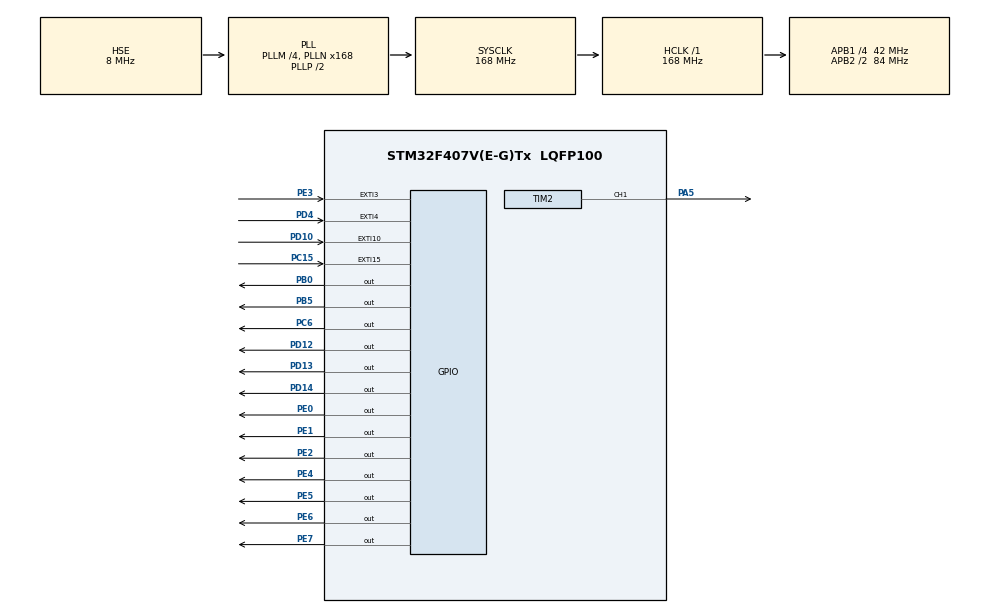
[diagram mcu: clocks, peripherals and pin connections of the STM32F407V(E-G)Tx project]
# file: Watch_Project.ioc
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Mcu.Family=STM32F4
Mcu.Name=STM32F407V(E-G)Tx
Mcu.Package=LQFP100
NVIC.EXTI15_10_IRQn=true\:0\:0\:false\:true\:true\:4\:true\:true\:true
NVIC.EXTI3_IRQn=true\:0\:0\:false\:true\:true\:2\:true\:true\:true
NVIC.EXTI4_IRQn=true\:0\:0\:false\:true\:true\:3\:true\:true\:true
NVIC.PriorityGroup=NVIC_PRIORITYGROUP_4
NVIC.TIM7_IRQn=true\:0\:0\:false\:true\:true\:1\:true\:true\:true
PA5.Signal=S_TIM2_CH1_ETR
PB0.Signal=GPIO_Output
PB5.Signal=GPIO_Output
PC15-OSC32_OUT.GPIO_ModeDefaultEXTI=GPIO_MODE_IT_RISING_FALLING
PC15-OSC32_OUT.Signal=GPXTI15
PC6.Signal=GPIO_Output
PD10.GPIO_ModeDefaultEXTI=GPIO_MODE_IT_RISING_FALLING
PD10.Signal=GPXTI10
PD12.Signal=GPIO_Output
PD13.Signal=GPIO_Output
PD14.Signal=GPIO_Output
PD4.GPIO_ModeDefaultEXTI=GPIO_MODE_IT_RISING_FALLING
PD4.Signal=GPXTI4
PE0.Signal=GPIO_Output
PE1.Signal=GPIO_Output
PE2.Signal=GPIO_Output
PE3.GPIO_ModeDefaultEXTI=GPIO_MODE_IT_RISING_FALLING
PE3.Signal=GPXTI3
PE4.Signal=GPIO_Output
PE5.Signal=GPIO_Output
PE6.Signal=GPIO_Output
PE7.Signal=GPIO_Output
PH0-OSC_IN.Mode=HSE-External-Oscillator
PH0-OSC_IN.Signal=RCC_OSC_IN
PH1-OSC_OUT.Mode=HSE-External-Oscillator
PH1-OSC_OUT.Signal=RCC_OSC_OUT
ProjectManager.HeapSize=0x200
ProjectManager.StackSize=0x400
ProjectManager.TargetToolchain=STM32CubeIDE
RCC.48MHZClocksFreq_Value=84000000
RCC.AHBFreq_Value=168000000
RCC.APB1CLKDivider=RCC_HCLK_DIV4
RCC.APB1Freq_Value=42000000
RCC.APB1TimFreq_Value=84000000
RCC.APB2CLKDivider=RCC_HCLK_DIV2
RCC.APB2Freq_Value=84000000
RCC.APB2TimFreq_Value=168000000
RCC.CortexFreq_Value=168000000
RCC.HCLKFreq_Value=168000000
RCC.HSE_VALUE=8000000
RCC.HSI_VALUE=16000000
RCC.LSE_VALUE=32768
RCC.PLLM=4
RCC.PLLN=168
RCC.PLLSourceVirtual=RCC_PLLSOURCE_HSE
RCC.SYSCLKFreq_VALUE=168000000
RCC.SYSCLKSource=RCC_SYSCLKSOURCE_PLLCLK
RCC.VCOOutputFreq_Value=336000000
SH.S_TIM2_CH1_ETR.0=TIM2_CH1,PWM Generation1 CH1
TIM2.AutoReloadPreload=TIM_AUTORELOAD_PRELOAD_ENABLE
TIM2.Channel-PWM\ Generation1\ CH1=TIM_CHANNEL_1
TIM2.OCFastMode_PWM-PWM\ Generation1\ CH1=TIM_OCFAST_ENABLE
TIM2.Period=1000-1
TIM2.Prescaler=168-1
TIM2.Pulse-PWM\ Generation1\ CH1=500
TIM7.Period=1000-1
TIM7.Prescaler=84-1
VP_TIM2_VS_ClockSourceINT.Mode=Internal
VP_TIM7_VS_ClockSourceINT.Mode=Enable_Timer
board=custom

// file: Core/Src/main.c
/* USER CODE BEGIN Header */
/**
 ******************************************************************************
 * @file           : main.c
 * @brief          : Main program body
 ******************************************************************************
 * @attention
 *
 * Copyright (c) 2024 STMicroelectronics.
 * All rights reserved.
 *
 * This software is licensed under terms that can be found in the LICENSE file
 * in the root directory of this software component.
 * If no LICENSE file comes with this software, it is provided AS-IS.
 *
 ******************************************************************************
 */
/* USER CODE END Header */
#include "main.h"

/* USER CODE BEGIN Includes */
#include "stdbool.h"
#include <stdint.h>
#include <stdio.h>

#include "7SEG.h"
#include "CLCD.h"
#include "variables.h"
#include "initprocess.h"
#include "alarm.h"
#include "clock.h"
#include "timer.h"
#include "stopwatch.h"
/* USER CODE END Includes */

TIM_HandleTypeDef htim2;
TIM_HandleTypeDef htim7;

void SystemClock_Config(void);
static void MX_GPIO_Init(void);
static void MX_TIM7_Init(void);
static void MX_TIM2_Init(void);
static void MX_NVIC_Init(void);

int main(void) {

	/* MCU Configuration--------------------------------------------------------*/

	/* Reset of all peripherals, Initializes the Flash interface and the Systick. */
	HAL_Init();

	/* Configure the system clock */
	SystemClock_Config();

	/* Initialize all configured peripherals */
	MX_GPIO_Init();
	MX_TIM7_Init();
	MX_TIM2_Init();

	/* Initialize interrupts */
	MX_NVIC_Init();
	/* USER CODE BEGIN 2 */
	Init_Peripherals(&htim7);
	/* USER CODE END 2 */

	/* Infinite loop */
	/* USER CODE BEGIN WHILE */
	while (1) {
		switch (Watch_Mode) {
		case MODE_CLOCK:
			Clock_basic_operation();
			Clock_display_operation();
			Clock_button_operation();
			break;
		case MODE_ALARM:
			Alarm_basic_operation();
			Alarm_display_operation();
			Alarm_button_operation();
			break;
		case MODE_STOPWATCH:
			Stopwatch_basic_operation();
			Stopwatch_display_operation();
			Stopwatch_button_operation();
			break;
		case MODE_TIMER:
			Timer_basic_operation();
			Timer_display_operation();
			Timer_button_operation();
			break;
		}
		if (Watch_Mode > MODE_TIMER) {
			Watch_Mode = MODE_CLOCK;
		}
		Alarm_Check();
		Init_button_operation();
		/* USER CODE END WHILE */

	}
}

void SystemClock_Config(void) {
	RCC_OscInitTypeDef RCC_OscInitStruct = { 0 };
	RCC_ClkInitTypeDef RCC_ClkInitStruct = { 0 };

	/** Configure the main internal regulator output voltage
	 */
	__HAL_RCC_PWR_CLK_ENABLE();
	__HAL_PWR_VOLTAGESCALING_CONFIG(PWR_REGULATOR_VOLTAGE_SCALE1);

	/** Initializes the RCC Oscillators according to the specified parameters
	 * in the RCC_OscInitTypeDef structure.
	 */
	RCC_OscInitStruct.OscillatorType = RCC_OSCILLATORTYPE_HSE;
	RCC_OscInitStruct.HSEState = RCC_HSE_ON;
	RCC_OscInitStruct.PLL.PLLState = RCC_PLL_ON;
	RCC_OscInitStruct.PLL.PLLSource = RCC_PLLSOURCE_HSE;
	RCC_OscInitStruct.PLL.PLLM = 4;
	RCC_OscInitStruct.PLL.PLLN = 168;
	RCC_OscInitStruct.PLL.PLLP = RCC_PLLP_DIV2;
	RCC_OscInitStruct.PLL.PLLQ = 4;
	if (HAL_RCC_OscConfig(&RCC_OscInitStruct) != HAL_OK) {
		Error_Handler();
	}

	/** Initializes the CPU, AHB and APB buses clocks
	 */
	RCC_ClkInitStruct.ClockType = RCC_CLOCKTYPE_HCLK | RCC_CLOCKTYPE_SYSCLK
			| RCC_CLOCKTYPE_PCLK1 | RCC_CLOCKTYPE_PCLK2;
	RCC_ClkInitStruct.SYSCLKSource = RCC_SYSCLKSOURCE_PLLCLK;
	RCC_ClkInitStruct.AHBCLKDivider = RCC_SYSCLK_DIV1;
	RCC_ClkInitStruct.APB1CLKDivider = RCC_HCLK_DIV4;
	RCC_ClkInitStruct.APB2CLKDivider = RCC_HCLK_DIV2;

	if (HAL_RCC_ClockConfig(&RCC_ClkInitStruct, FLASH_LATENCY_5) != HAL_OK) {
		Error_Handler();
	}
}

/**
 * @brief NVIC Configuration.
 * @retval None
 */
static void MX_NVIC_Init(void) {
	/* TIM7_IRQn interrupt configuration */
	HAL_NVIC_SetPriority(TIM7_IRQn, 0, 0);
	HAL_NVIC_EnableIRQ(TIM7_IRQn);
	/* EXTI3_IRQn interrupt configuration */
	HAL_NVIC_SetPriority(EXTI3_IRQn, 0, 0);
	HAL_NVIC_EnableIRQ(EXTI3_IRQn);
	/* EXTI4_IRQn interrupt configuration */
	HAL_NVIC_SetPriority(EXTI4_IRQn, 0, 0);
	HAL_NVIC_EnableIRQ(EXTI4_IRQn);
	/* EXTI15_10_IRQn interrupt configuration */
	HAL_NVIC_SetPriority(EXTI15_10_IRQn, 0, 0);
	HAL_NVIC_EnableIRQ(EXTI15_10_IRQn);
}

static void MX_TIM2_Init(void) {

	TIM_ClockConfigTypeDef sClockSourceConfig = { 0 };
	TIM_MasterConfigTypeDef sMasterConfig = { 0 };
	TIM_OC_InitTypeDef sConfigOC = { 0 };

	htim2.Instance = TIM2;
	htim2.Init.Prescaler = 168 - 1;
	htim2.Init.CounterMode = TIM_COUNTERMODE_UP;
	htim2.Init.Period = 1000 - 1;
	htim2.Init.ClockDivision = TIM_CLOCKDIVISION_DIV1;
	htim2.Init.AutoReloadPreload = TIM_AUTORELOAD_PRELOAD_ENABLE;
	if (HAL_TIM_Base_Init(&htim2) != HAL_OK) {
		Error_Handler();
	}
	sClockSourceConfig.ClockSource = TIM_CLOCKSOURCE_INTERNAL;
	if (HAL_TIM_ConfigClockSource(&htim2, &sClockSourceConfig) != HAL_OK) {
		Error_Handler();
	}
	if (HAL_TIM_PWM_Init(&htim2) != HAL_OK) {
		Error_Handler();
	}
	sMasterConfig.MasterOutputTrigger = TIM_TRGO_RESET;
	sMasterConfig.MasterSlaveMode = TIM_MASTERSLAVEMODE_DISABLE;
	if (HAL_TIMEx_MasterConfigSynchronization(&htim2, &sMasterConfig)
			!= HAL_OK) {
		Error_Handler();
	}
	sConfigOC.OCMode = TIM_OCMODE_PWM1;
	sConfigOC.Pulse = 500;
	sConfigOC.OCPolarity = TIM_OCPOLARITY_HIGH;
	sConfigOC.OCFastMode = TIM_OCFAST_ENABLE;
	if (HAL_TIM_PWM_ConfigChannel(&htim2, &sConfigOC, TIM_CHANNEL_1)
			!= HAL_OK) {
		Error_Handler();
	}
	HAL_TIM_MspPostInit(&htim2);

}

static void MX_TIM7_Init(void) {

	TIM_MasterConfigTypeDef sMasterConfig = { 0 };

	htim7.Instance = TIM7;
	htim7.Init.Prescaler = 84 - 1;
	htim7.Init.CounterMode = TIM_COUNTERMODE_UP;
	htim7.Init.Period = 1000 - 1;
	htim7.Init.AutoReloadPreload = TIM_AUTORELOAD_PRELOAD_DISABLE;
	if (HAL_TIM_Base_Init(&htim7) != HAL_OK) {
		Error_Handler();
	}
	sMasterConfig.MasterOutputTrigger = TIM_TRGO_RESET;
	sMasterConfig.MasterSlaveMode = TIM_MASTERSLAVEMODE_DISABLE;
	if (HAL_TIMEx_MasterConfigSynchronization(&htim7, &sMasterConfig)
			!= HAL_OK) {
		Error_Handler();
	}

}

static void MX_GPIO_Init(void) {
	GPIO_InitTypeDef GPIO_InitStruct = { 0 };

	/* GPIO Ports Clock Enable */
	__HAL_RCC_GPIOE_CLK_ENABLE();
	__HAL_RCC_GPIOC_CLK_ENABLE();
	__HAL_RCC_GPIOH_CLK_ENABLE();
	__HAL_RCC_GPIOA_CLK_ENABLE();
	__HAL_RCC_GPIOB_CLK_ENABLE();
	__HAL_RCC_GPIOD_CLK_ENABLE();

	/*Configure GPIO pin Output Level */
	HAL_GPIO_WritePin(GPIOE,
			GPIO_PIN_2 | GPIO_PIN_4 | GPIO_PIN_5 | GPIO_PIN_6 | GPIO_PIN_7
					| GPIO_PIN_0 | GPIO_PIN_1, GPIO_PIN_RESET);

	/*Configure GPIO pin Output Level */
	HAL_GPIO_WritePin(GPIOB, GPIO_PIN_0 | GPIO_PIN_5, GPIO_PIN_RESET);

	/*Configure GPIO pin Output Level */
	HAL_GPIO_WritePin(GPIOD, GPIO_PIN_12 | GPIO_PIN_13 | GPIO_PIN_14,
			GPIO_PIN_RESET);

	/*Configure GPIO pin Output Level */
	HAL_GPIO_WritePin(GPIOC, GPIO_PIN_6, GPIO_PIN_RESET);

	/*Configure GPIO pins : PE2 PE4 PE5 PE6
	 PE7 PE0 PE1 */
	GPIO_InitStruct.Pin = GPIO_PIN_2 | GPIO_PIN_4 | GPIO_PIN_5 | GPIO_PIN_6
			| GPIO_PIN_7 | GPIO_PIN_0 | GPIO_PIN_1;
	GPIO_InitStruct.Mode = GPIO_MODE_OUTPUT_PP;
	GPIO_InitStruct.Pull = GPIO_NOPULL;
	GPIO_InitStruct.Speed = GPIO_SPEED_FREQ_LOW;
	HAL_GPIO_Init(GPIOE, &GPIO_InitStruct);

	/*Configure GPIO pin : PE3 */
	GPIO_InitStruct.Pin = GPIO_PIN_3;
	GPIO_InitStruct.Mode = GPIO_MODE_IT_RISING_FALLING;
	GPIO_InitStruct.Pull = GPIO_NOPULL;
	HAL_GPIO_Init(GPIOE, &GPIO_InitStruct);

	/*Configure GPIO pin : PC15 */
	GPIO_InitStruct.Pin = GPIO_PIN_15;
	GPIO_InitStruct.Mode = GPIO_MODE_IT_RISING_FALLING;
	GPIO_InitStruct.Pull = GPIO_NOPULL;
	HAL_GPIO_Init(GPIOC, &GPIO_InitStruct);

	/*Configure GPIO pins : PB0 PB5 */
	GPIO_InitStruct.Pin = GPIO_PIN_0 | GPIO_PIN_5;
	GPIO_InitStruct.Mode = GPIO_MODE_OUTPUT_PP;
	GPIO_InitStruct.Pull = GPIO_NOPULL;
	GPIO_InitStruct.Speed = GPIO_SPEED_FREQ_LOW;
	HAL_GPIO_Init(GPIOB, &GPIO_InitStruct);

	/*Configure GPIO pins : PD10 PD4 */
	GPIO_InitStruct.Pin = GPIO_PIN_10 | GPIO_PIN_4;
	GPIO_InitStruct.Mode = GPIO_MODE_IT_RISING_FALLING;
	GPIO_InitStruct.Pull = GPIO_NOPULL;
	HAL_GPIO_Init(GPIOD, &GPIO_InitStruct);

	/*Configure GPIO pins : PD12 PD13 PD14 */
	GPIO_InitStruct.Pin = GPIO_PIN_12 | GPIO_PIN_13 | GPIO_PIN_14;
	GPIO_InitStruct.Mode = GPIO_MODE_OUTPUT_PP;
	GPIO_InitStruct.Pull = GPIO_NOPULL;
	GPIO_InitStruct.Speed = GPIO_SPEED_FREQ_LOW;
	HAL_GPIO_Init(GPIOD, &GPIO_InitStruct);

	/*Configure GPIO pin : PC6 */
	GPIO_InitStruct.Pin = GPIO_PIN_6;
	GPIO_InitStruct.Mode = GPIO_MODE_OUTPUT_PP;
	GPIO_InitStruct.Pull = GPIO_NOPULL;
	GPIO_InitStruct.Speed = GPIO_SPEED_FREQ_LOW;
	HAL_GPIO_Init(GPIOC, &GPIO_InitStruct);

}

/* USER CODE BEGIN 4 */

void updateBuzzer() {
    if (!buzzer) return;
    if (Press_Time > 0 && Press_Time <= 100) {
        TIM2->ARR = 1000 - 1;
        TIM2->CCR1 = 500;
    } else if (Press_Time >= 700 && Press_Time <= 800) {
        TIM2->ARR = 800 - 1;
        TIM2->CCR1 = 400;
    } else if (Press_Time >= 2500 && Press_Time <= 2600) {
        TIM2->ARR = 600 - 1;
        TIM2->CCR1 = 300;
    } else {
        TIM2->CCR1 = 0;
    }
    HAL_TIM_PWM_Start(&htim2, TIM_CHANNEL_1);
}
void update_Time() {
    if (++clock_time == 1000) {
        clock_time = 0;
        if (++second == 60) {
            second = 0;
            if (++minute == 60) {
                minute = 0;
                if (++hour == 24) {
                    hour = 0;
                    day++;
                }
            }
        }
    }
}
void handleAlarmOrTimer(bool condition, GPIO_TypeDef *GPIOx, uint16_t GPIO_Pin) {
    if (condition) {
        if (clock_time % 100 < 50) {
            HAL_GPIO_TogglePin(GPIOx, GPIO_Pin);
            if (buzzer){
            	HAL_TIM_PWM_Start(&htim2, TIM_CHANNEL_1);
            	TIM2->ARR = 1000 - 1; // 주파수 초기값으로 되돌림
            	TIM2->CCR1 = 500; // 듀티 사이클 초기값으로 되돌림
            }
        }
        else {
            if (buzzer){
            	HAL_TIM_PWM_Stop(&htim2, TIM_CHANNEL_1);
            	TIM2->ARR = 1000 - 1; // 주파수 초기값으로 되돌림
            	TIM2->CCR1 = 0; // 듀티 사이클 0으로 설정

            }
        }
    }
}
void HAL_TIM_PeriodElapsedCallback(TIM_HandleTypeDef *htim) { //타이머 인터럽트 호출
	if (htim->Instance == TIM7) { //1ms 마다 타이머 인터럽트
		Run_Time++; //실행 시간 증가
		update_Time();
		if ((sw1 || sw2 || sw3 || sw4) && Press_Time <= 2610) {
		   Press_Time++;
		}
		if (stopwatch_running) stopwatch_time++;
		if (timer_start && timer_time_tmp > 0) timer_time_tmp--;
		updateBuzzer();
		handleAlarmOrTimer(alarm_ring && !alarm_setmode, GPIOB, GPIO_PIN_0);
		handleAlarmOrTimer(timer_time_tmp == 0 && timer_start, GPIOD, GPIO_PIN_13);

	}
}
void HAL_GPIO_EXTI_Callback(uint16_t GPIO_Pin) { //외부 인터럽트 호출
	if (GPIO_Pin == GPIO_PIN_3) {
		if (HAL_GPIO_ReadPin(GPIOE, GPIO_PIN_3) == GPIO_PIN_SET) { // GPIOE 포트의 GPIO_PIN_3 핀이 현재 눌린 상태(높은 전압 상태)인지 확인
			if (sw1 == false) { // 이전 상태는 눌리지 않은 상태
				sw1 = true; // 이전 상태를 현재 상태로 업데이트(스위치가 눌렸음을 표시)
				HAL_GPIO_TogglePin(GPIOD, GPIO_PIN_12);
				Press_Time = 0; // sw1이 눌릴 때 Press_Time 초기화

			}
		}

		else {	// GPIOE 포트의 GPIO_PIN_3 핀이 현재 떼진 상태(낮은 전압 상태)인지 확인
			if (sw1 == true) {	// 이전 상태는 눌린 상태
				sw1 = false; // 이전 상태를 현재 상태로 업데이트(스위치가 떼졌음을 표시)
				HAL_GPIO_TogglePin(GPIOC, GPIO_PIN_6);
				sw1_released = true; // sw1_released 변수를 true로 설정하여 디바운스 처리 완료 표시
				Press_Time = 0;	// sw1이 떼질 때 Press_Time 초기화

				if (!alarm_ring) {
					if (Press_Mode == PRESS_SHORT && !clock_setmode && !timer_setmode
							&& !alarm_setmode) { //짧게 누르고 수정상태 아니면 모드 변경
						Watch_Mode++;
						mode_changed = true;
					}

					if (Press_Mode == PRESS_SHORT && clock_setmode) { //짧게 누르고 수정상태이면 수정값 증가시키기
						item_select++;
						if (item_select == 6) {
							item_select = 0;
						}
					}

					if (Press_Mode == PRESS_SHORT && timer_setmode) { //짧게 누르고 수정상태이면 수정값 증가시키기
						item_select2++;
						if (item_select2 == 3) {
							item_select2 = 0;
						}
					}

					if (Press_Mode == PRESS_SHORT && alarm_setmode) { //짧게 누르고 수정상태이면 수정값 증가시키기
						item_select3++;
						if (item_select3 == 4) {
							item_select3 = 0;
						}
					}
				}
				if (alarm_ring && !alarm_setmode) {
					alarm_ring = false;
					HAL_GPIO_WritePin(GPIOB, GPIO_PIN_0, GPIO_PIN_SET);
				}
			}
		}
	}

	else if (GPIO_Pin == GPIO_PIN_15) {
		if (HAL_GPIO_ReadPin(GPIOC, GPIO_PIN_15) == GPIO_PIN_SET) { // GPIOC 포트의 GPIO_PIN_15 핀이 현재 눌린 상태(높은 전압 상태)인지 확인
			if (sw2 == false) { 	// 이전 상태는 눌리지 않은 상태
				sw2 = true; 	// 이전 상태를 현재 상태로 업데이트(스위치가 눌렸음을 표시)
				HAL_GPIO_TogglePin(GPIOD, GPIO_PIN_12);
				Press_Time = 0; 	// sw2이 눌릴 때 Press_Time 초기화
			}
		} else { 	// GPIOC 포트의 GPIO_PIN_15 핀이 현재 떼진 상태(낮은 전압 상태)인지 확인
			if (sw2 == true) { 	// 이전 상태는 눌린 상태
				sw2 = false; 	// 이전 상태를 현재 상태로 업데이트(스위치가 떼졌음을 표시)
				sw2_released = true; //
				HAL_GPIO_TogglePin(GPIOC, GPIO_PIN_6);
				Press_Time = 0; 	// sw1이 떼질 때 Press_Time 초기화

				if (timer_time_tmp == 0 && timer_start && Watch_Mode != MODE_TIMER) {
					timer_start = !timer_start;
				}
			}
		}
	}

	else if (GPIO_Pin == GPIO_PIN_4) {
		if (HAL_GPIO_ReadPin(GPIOD, GPIO_PIN_4) == GPIO_PIN_SET) {
			if (sw3 == false) {
				sw3 = true;
				HAL_GPIO_TogglePin(GPIOD, GPIO_PIN_12);
				sw3_pressed = true;
				Press_Time = 0; // sw1이 눌릴 때 Press_Time 초기화
			}
		} else {
			if (sw3 == true) {
				sw3 = false;
				sw3_pressed = false;
				sw3_released = true;
				HAL_GPIO_TogglePin(GPIOC, GPIO_PIN_6);
				Press_Time = 0;
			}
		}
	}

	else if (GPIO_Pin == GPIO_PIN_10) {
		if (HAL_GPIO_ReadPin(GPIOD, GPIO_PIN_10) == GPIO_PIN_SET) {
			if (sw4 == false) {
				sw4 = true;
				HAL_GPIO_TogglePin(GPIOD, GPIO_PIN_12);
				Press_Time = 0; // sw1이 눌릴 때 Press_Time 초기화
			}
		} else {
			if (sw4 == true) {
				sw4 = false;
				HAL_GPIO_TogglePin(GPIOC, GPIO_PIN_6);
				sw4_released = true;
				Press_Time = 0;
			}
		}
	}
}
/* USER CODE END 4 */

void Error_Handler(void) {
	__disable_irq();
	while (1) {
	}
}
